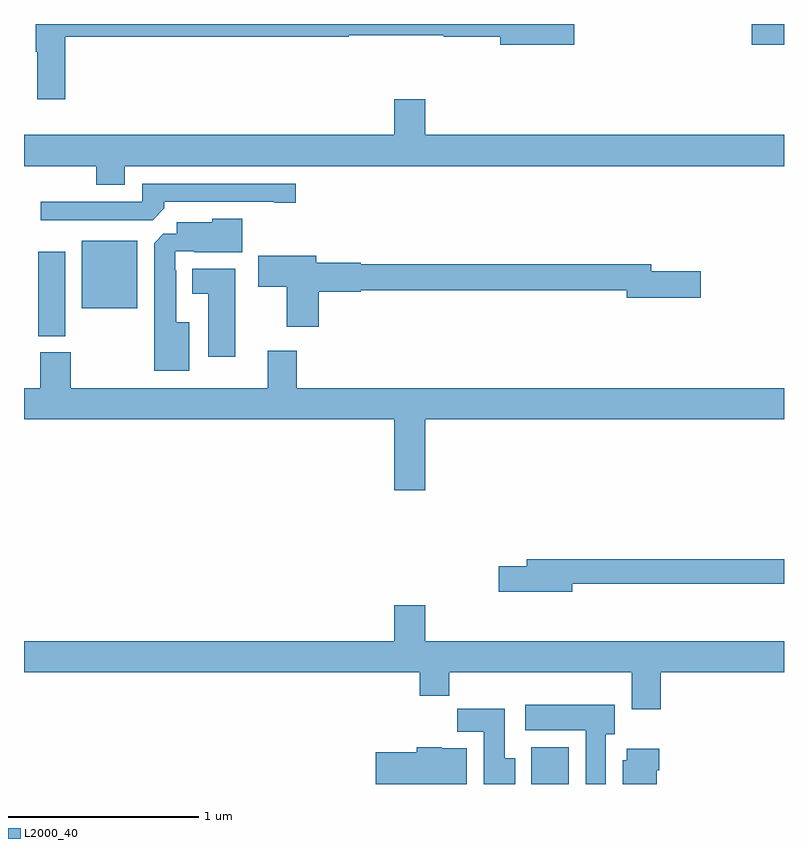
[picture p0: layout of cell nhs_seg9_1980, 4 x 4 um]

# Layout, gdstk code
import gdstk
lib = gdstk.Library(unit=1e-6, precision=1e-09)
def R(c, l, rs):  # rectangles x0, y0, x1, y1
    for r in rs: c.add(gdstk.rectangle(r[:2], r[2:], *l))
def P(c, l, *ps):  # polygons
    for p in ps: c.add(gdstk.Polygon(p, *l))
L2000_40 = (2000, 40)

nhs_seg9_1980 = lib.new_cell('nhs_seg9_1980')
R(nhs_seg9_1980, L2000_40, [(225.671,1194.5,225.868,1194.694), (223.075,1196.857,223.216,1197.301), (223.304,1197.005,223.597,1197.358), (226.83,1198.39,227,1198.5)])
P(nhs_seg9_1980, L2000_40, [(223.217,1198.432),(224.71,1198.432),(224.71,1198.44),(225.21,1198.44),(225.21,1198.432),(225.506,1198.432),(225.506,1198.39),(225.895,1198.39),(225.895,1198.5),(223.063,1198.5),(223.063,1198.355),(223.07,1198.355),(223.07,1198.104),(223.217,1198.104)],
  [(223.531,1197.752),(227,1197.752),(227,1197.916),(225.112,1197.916),(225.112,1198.105),(224.948,1198.105),(224.948,1197.916),(223,1197.916),(223,1197.752),(223.379,1197.752),(223.379,1197.653),(223.531,1197.653)],
  [(223.739,1197.53),(223.739,1197.564),(224.318,1197.564),(224.318,1197.559),(224.431,1197.559),(224.431,1197.66),(223.623,1197.66),(223.623,1197.564),(223.089,1197.564),(223.089,1197.468),(223.677,1197.468)],
  [(223.87,1196.929),(223.801,1196.929),(223.801,1197.203),(223.797,1197.203),(223.797,1197.303),(223.897,1197.303),(223.897,1197.299),(224.149,1197.299),(224.149,1197.475),(223.992,1197.475),(223.992,1197.457),(223.805,1197.457),(223.805,1197.396),(223.734,1197.396),(223.685,1197.347),(223.685,1196.675),(223.87,1196.675)],
  [(224.552,1197.092),(224.772,1197.092),(224.772,1197.1),(226.172,1197.1),(226.172,1197.058),(226.561,1197.058),(226.561,1197.2),(226.3,1197.2),(226.3,1197.236),(224.772,1197.236),(224.772,1197.244),(224.539,1197.244),(224.539,1197.28),(224.232,1197.28),(224.232,1197.118),(224.384,1197.118),(224.384,1196.907),(224.552,1196.907)],
  [(224.113,1197.211),(223.886,1197.211),(223.886,1197.08),(223.97,1197.08),(223.97,1196.748),(224.113,1196.748)],
  [(225.112,1196.42),(227,1196.42),(227,1196.584),(224.435,1196.584),(224.435,1196.779),(224.282,1196.779),(224.282,1196.584),(223.245,1196.584),(223.245,1196.772),(223.085,1196.772),(223.085,1196.584),(223,1196.584),(223,1196.42),(224.948,1196.42),(224.948,1196.046),(225.112,1196.046)],
  [(225.886,1195.554),(227,1195.554),(227,1195.682),(225.647,1195.682),(225.647,1195.646),(225.498,1195.646),(225.498,1195.511),(225.886,1195.511)],
  [(226.352,1195.088),(227,1195.088),(227,1195.252),(225.112,1195.252),(225.112,1195.441),(224.948,1195.441),(224.948,1195.252),(223,1195.252),(223,1195.088),(225.083,1195.088),(225.083,1194.964),(225.239,1194.964),(225.239,1195.088),(226.199,1195.088),(226.199,1194.894),(226.352,1194.894)],
  [(226.063,1194.762),(226.108,1194.762),(226.108,1194.916),(225.639,1194.916),(225.639,1194.782),(225.956,1194.782),(225.956,1194.5),(226.063,1194.5)],
  [(225.586,1194.636),(225.529,1194.636),(225.529,1194.895),(225.28,1194.895),(225.28,1194.776),(225.419,1194.776),(225.419,1194.5),(225.586,1194.5)],
  [(225.331,1194.688),(225.198,1194.688),(225.198,1194.694),(225.068,1194.694),(225.068,1194.666),(224.85,1194.666),(224.85,1194.5),(225.331,1194.5)],
  [(226.33,1194.572),(226.343,1194.572),(226.343,1194.685),(226.172,1194.685),(226.172,1194.624),(226.151,1194.624),(226.151,1194.5),(226.33,1194.5)])

lib.write_gds('nhs_seg9_1980.gds')
